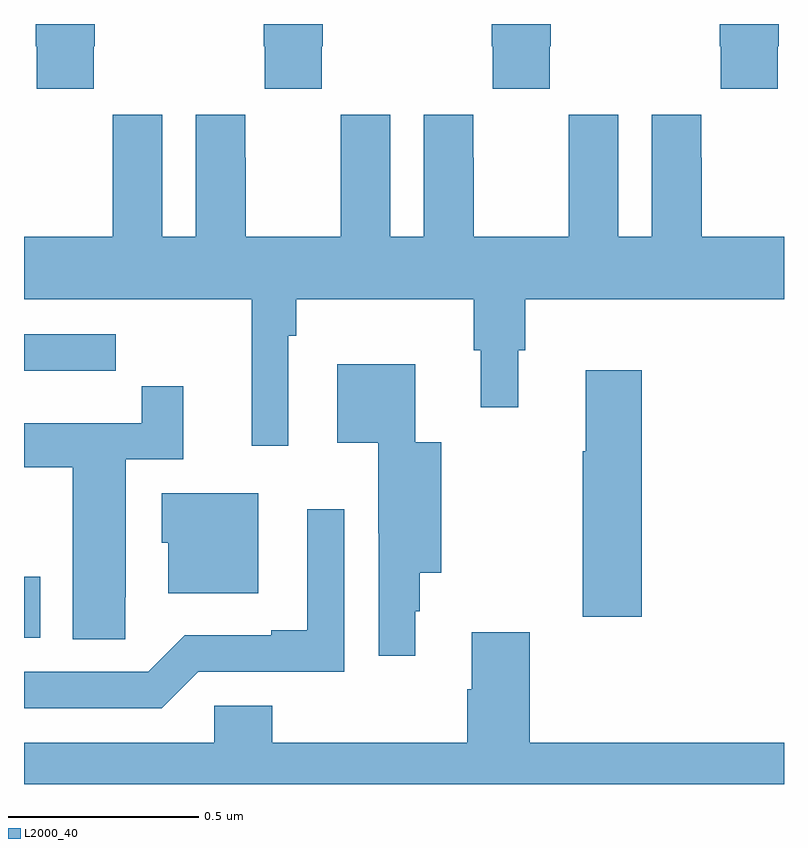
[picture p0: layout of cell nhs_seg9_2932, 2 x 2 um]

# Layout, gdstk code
import gdstk
lib = gdstk.Library(unit=1e-6, precision=1e-09)
def R(c, l, rs):  # rectangles x0, y0, x1, y1
    for r in rs: c.add(gdstk.rectangle(r[:2], r[2:], *l))
def P(c, l, *ps):  # polygons
    for p in ps: c.add(gdstk.Polygon(p, *l))
L2000_40 = (2000, 40)

nhs_seg9_2932 = lib.new_cell('nhs_seg9_2932')
R(nhs_seg9_2932, L2000_40, [(147,1172.885,147.043,1173.045)])
P(nhs_seg9_2932, L2000_40, [(147.783,1174.441),(147.786,1174.441),(147.786,1174.5),(147.631,1174.5),(147.631,1174.441),(147.633,1174.441),(147.633,1174.329),(147.783,1174.329)],
  [(148.383,1174.441),(148.386,1174.441),(148.386,1174.5),(148.231,1174.5),(148.231,1174.441),(148.233,1174.441),(148.233,1174.329),(148.383,1174.329)],
  [(148.983,1174.441),(148.986,1174.441),(148.986,1174.5),(148.831,1174.5),(148.831,1174.441),(148.833,1174.441),(148.833,1174.329),(148.983,1174.329)],
  [(147.183,1174.441),(147.186,1174.441),(147.186,1174.5),(147.031,1174.5),(147.031,1174.441),(147.033,1174.441),(147.033,1174.329),(147.183,1174.329)],
  [(147.696,1173.68),(147.716,1173.68),(147.716,1173.776),(148.183,1173.776),(148.183,1173.642),(148.202,1173.642),(148.202,1173.492),(148.3,1173.492),(148.3,1173.642),(148.319,1173.642),(148.319,1173.776),(149,1173.776),(149,1173.94),(148.783,1173.94),(148.783,1174.148),(148.782,1174.148),(148.782,1174.261),(148.652,1174.261),(148.652,1173.94),(148.564,1173.94),(148.564,1174.261),(148.434,1174.261),(148.434,1174.148),(148.433,1174.148),(148.433,1173.94),(148.183,1173.94),(148.183,1174.148),(148.182,1174.148),(148.182,1174.261),(148.052,1174.261),(148.052,1173.94),(147.964,1173.94),(147.964,1174.261),(147.834,1174.261),(147.834,1174.148),(147.833,1174.148),(147.833,1173.94),(147.583,1173.94),(147.583,1174.148),(147.582,1174.148),(147.582,1174.261),(147.452,1174.261),(147.452,1173.94),(147.364,1173.94),(147.364,1174.261),(147.234,1174.261),(147.234,1174.148),(147.233,1174.148),(147.233,1173.94),(147,1173.94),(147,1173.776),(147.599,1173.776),(147.599,1173.39),(147.696,1173.39)],
  [(147.128,1173.588),(147.241,1173.588),(147.241,1173.684),(147,1173.684),(147,1173.587),(147.128,1173.587)],
  [(148.03,1172.955),(148.042,1172.955),(148.042,1173.056),(148.098,1173.056),(148.098,1173.4),(148.03,1173.4),(148.03,1173.604),(147.824,1173.604),(147.824,1173.398),(147.932,1173.398),(147.932,1173.16),(147.933,1173.16),(147.933,1172.838),(148.03,1172.838)],
  [(148.625,1173.589),(148.478,1173.589),(148.478,1173.376),(148.471,1173.376),(148.471,1172.94),(148.625,1172.94)],
  [(147.267,1172.992),(147.268,1172.992),(147.268,1173.354),(147.419,1173.354),(147.419,1173.547),(147.31,1173.547),(147.31,1173.45),(147,1173.45),(147,1173.334),(147.128,1173.334),(147.128,1172.881),(147.267,1172.881)],
  [(147.616,1173.265),(147.362,1173.265),(147.362,1173.135),(147.38,1173.135),(147.38,1173.002),(147.616,1173.002)],
  [(147.459,1172.796),(147.843,1172.796),(147.843,1173.223),(147.746,1173.223),(147.746,1172.905),(147.65,1172.905),(147.65,1172.892),(147.423,1172.892),(147.327,1172.796),(147,1172.796),(147,1172.7),(147.363,1172.7)],
  [(149,1172.608),(148.331,1172.608),(148.331,1172.899),(148.178,1172.899),(148.178,1172.75),(148.166,1172.75),(148.166,1172.608),(147.653,1172.608),(147.653,1172.706),(147.501,1172.706),(147.501,1172.608),(147,1172.608),(147,1172.5),(149,1172.5)])

lib.write_gds('nhs_seg9_2932.gds')
